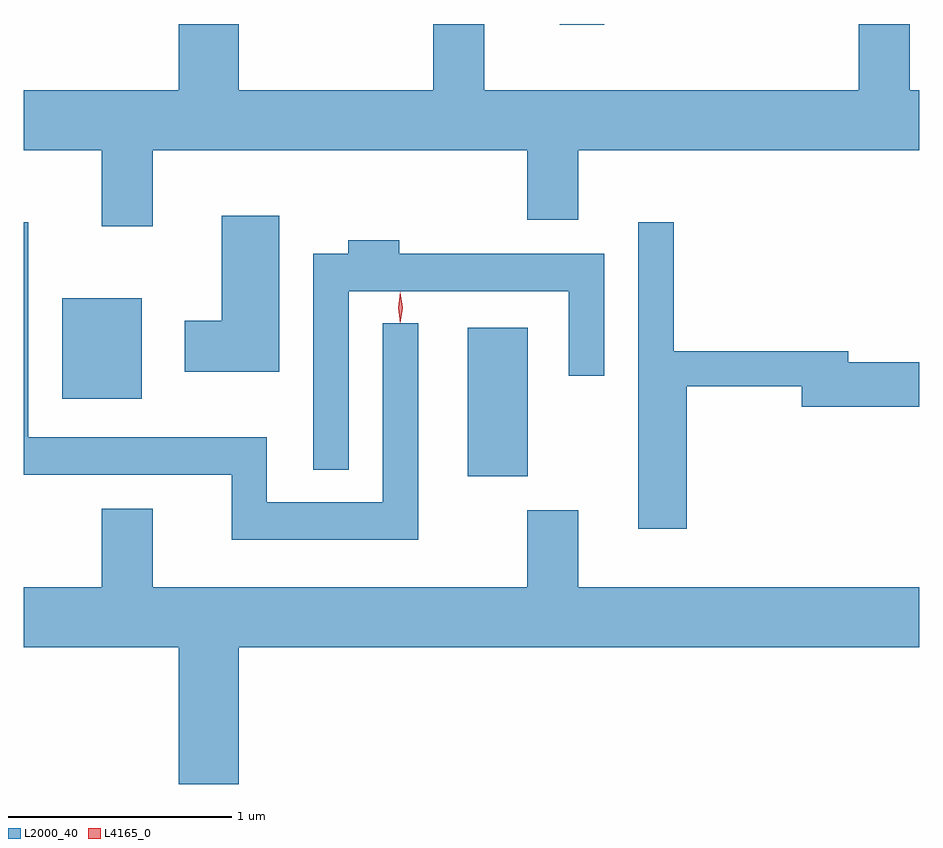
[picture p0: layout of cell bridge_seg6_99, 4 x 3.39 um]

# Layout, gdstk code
import gdstk
lib = gdstk.Library(unit=1e-6, precision=1e-09)
def R(c, l, rs):  # rectangles x0, y0, x1, y1
    for r in rs: c.add(gdstk.rectangle(r[:2], r[2:], *l))
def P(c, l, *ps):  # polygons
    for p in ps: c.add(gdstk.Polygon(p, *l))
L2000_40 = (2000, 40)
L4165_0 = (4165, 0)

bridge_seg6_99 = lib.new_cell('bridge_seg6_99')
R(bridge_seg6_99, L2000_40, [(1055.526,1617.401,1055.794,1618.064), (1053.716,1617.746,1054.069,1618.194), (1055.936,1619.416,1056.134,1619.419)])
P(bridge_seg6_99, L2000_40, [(1055.599,1619.419),(1055.371,1619.419),(1055.371,1619.124),(1054.504,1619.124),(1054.504,1619.419),(1054.236,1619.419),(1054.236,1619.124),(1053.542,1619.124),(1053.542,1618.856),(1053.891,1618.856),(1053.891,1618.516),(1054.119,1618.516),(1054.119,1618.856),(1055.791,1618.856),(1055.791,1618.546),(1056.019,1618.546),(1056.019,1618.856),(1057.542,1618.856),(1057.542,1619.124),(1057.499,1619.124),(1057.499,1619.419),(1057.271,1619.419),(1057.271,1619.124),(1055.599,1619.124)],
  [(1054.684,1618.564),(1054.426,1618.564),(1054.426,1618.094),(1054.261,1618.094),(1054.261,1617.866),(1054.684,1617.866)],
  [(1056.504,1617.801),(1057.016,1617.801),(1057.016,1617.711),(1057.542,1617.711),(1057.542,1617.909),(1057.224,1617.909),(1057.224,1617.959),(1056.444,1617.959),(1056.444,1618.533),(1056.286,1618.533),(1056.286,1617.166),(1056.504,1617.166)],
  [(1055.304,1618.083),(1055.146,1618.083),(1055.146,1617.284),(1054.629,1617.284),(1054.629,1617.574),(1053.564,1617.574),(1053.564,1618.533),(1053.542,1618.533),(1053.542,1617.406),(1054.471,1617.406),(1054.471,1617.116),(1055.304,1617.116)],
  [(1054.994,1618.226),(1055.976,1618.226),(1055.976,1617.848),(1056.134,1617.848),(1056.134,1618.394),(1055.219,1618.394),(1055.219,1618.454),(1054.991,1618.454),(1054.991,1618.394),(1054.836,1618.394),(1054.836,1617.428),(1054.994,1617.428)],
  [(1054.236,1616.026),(1054.504,1616.026),(1054.504,1616.636),(1057.542,1616.636),(1057.542,1616.904),(1056.019,1616.904),(1056.019,1617.249),(1055.791,1617.249),(1055.791,1616.904),(1054.119,1616.904),(1054.119,1617.254),(1053.891,1617.254),(1053.891,1616.904),(1053.542,1616.904),(1053.542,1616.636),(1054.236,1616.636)])
P(bridge_seg6_99, L4165_0, [(1055.224,1618.084),(1055.224,1618.084),(1055.214,1618.153),(1055.224,1618.222),(1055.224,1618.223),(1055.225,1618.222),(1055.234,1618.153),(1055.225,1618.084)])

lib.write_gds('bridge_seg6_99.gds')
